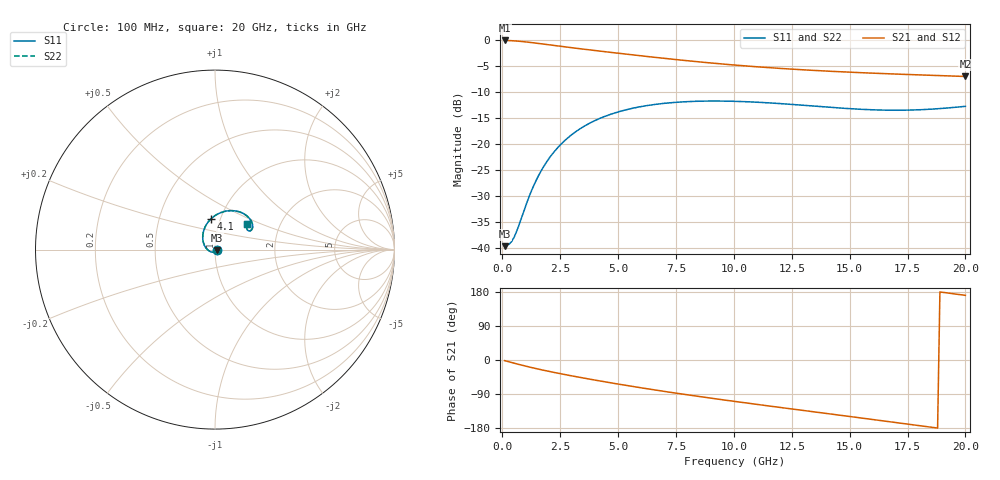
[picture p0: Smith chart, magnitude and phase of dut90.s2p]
! Created with skrf 1.9.0 (http://scikit-rf.org).
# GHz S RI R 50.0
!freq ReS11 ImS11 ReS21 ImS21 ReS12 ImS12 ReS22 ImS22
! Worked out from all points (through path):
!   200 points, 100 MHz to 20 GHz, reference 50 ohm
!   highest |S21| = -0.09 dB at 100 MHz (marker M1); lowest = -7.0 dB at 20 GHz (marker M2)
!   group delay of S21, straight-line fit = 24.8 ps
!   lowest |S11| = -39.6 dB at 100 MHz (marker M3), VSWR 1.02, Z = 51 - j0.295 ohm
!   |S11| at or under -10 dB: start of sweep to end of sweep
!   |S22| runs from -39.6 to -11.7 dB; largest |S21 - S12| = 1.9e-15
!   S11 on the Smith chart (normalised r, x): 100 MHz: 1.02, -0.01; 4.1 GHz: 0.90, +0.32; 20 GHz: 1.37, +0.41
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0.1  0.01 -0.00289  0.9888 -0.0289  0.9888 -0.0289  0.01 -0.00289
0.3  0.00707 -0.00834  0.9825 -0.0859  0.9825 -0.0859  0.00707 -0.00834
0.5  0.00123 -0.0125  0.9706 -0.1409  0.9706 -0.1409  0.00123 -0.0125
0.7  -0.00693 -0.0146  0.9537 -0.1932  0.9537 -0.1932  -0.00693 -0.0146
1.3  -0.037 -0.00434  0.8824 -0.3288  0.8824 -0.3288  -0.037 -0.00434
1.6  -0.0505 0.00954  0.8398 -0.3845  0.8398 -0.3845  -0.0505 0.00954
1.9  -0.0606 0.0276  0.7952 -0.4329  0.7952 -0.4329  -0.0606 0.0276
2.2  -0.0666 0.0482  0.7496 -0.475  0.7496 -0.475  -0.0666 0.0482
2.6  -0.0681 0.0772  0.6882 -0.5228  0.6882 -0.5228  -0.0681 0.0772
3  -0.0628 0.1058  0.627 -0.5624  0.627 -0.5624  -0.0628 0.1058
3.5  -0.0485 0.1384  0.5512 -0.6022  0.5512 -0.6022  -0.0485 0.1384
4.1  -0.0232 0.1704  0.4618 -0.6373  0.4618 -0.6373  -0.0232 0.1704
5.3  0.039 0.2086  0.2921 -0.6722  0.2921 -0.6722  0.039 0.2086
6.8  0.1134 0.2154  0.1049 -0.6648  0.1049 -0.6648  0.1134 0.2154
8.4  0.17 0.1936  -0.0587 -0.6161  -0.0587 -0.6161  0.17 0.1936
10.1  0.2016 0.1596  -0.1941 -0.5386  -0.1941 -0.5386  0.2016 0.1596
11.7  0.2098 0.1308  -0.2918 -0.4525  -0.2918 -0.4525  0.2098 0.1308
13.4  0.2041 0.1106  -0.3694 -0.3524  -0.3694 -0.3524  0.2041 0.1106
15.1  0.1917 0.104  -0.4229 -0.2458  -0.4229 -0.2458  0.1917 0.104
16.7  0.1807 0.1097  -0.4514 -0.1413  -0.4514 -0.1413  0.1807 0.1097
18.4  0.1755 0.1251  -0.4575 -0.0291  -0.4575 -0.0291  0.1755 0.1251
20  0.1801 0.1437  -0.4399 0.073  -0.4399 0.073  0.1801 0.1437
